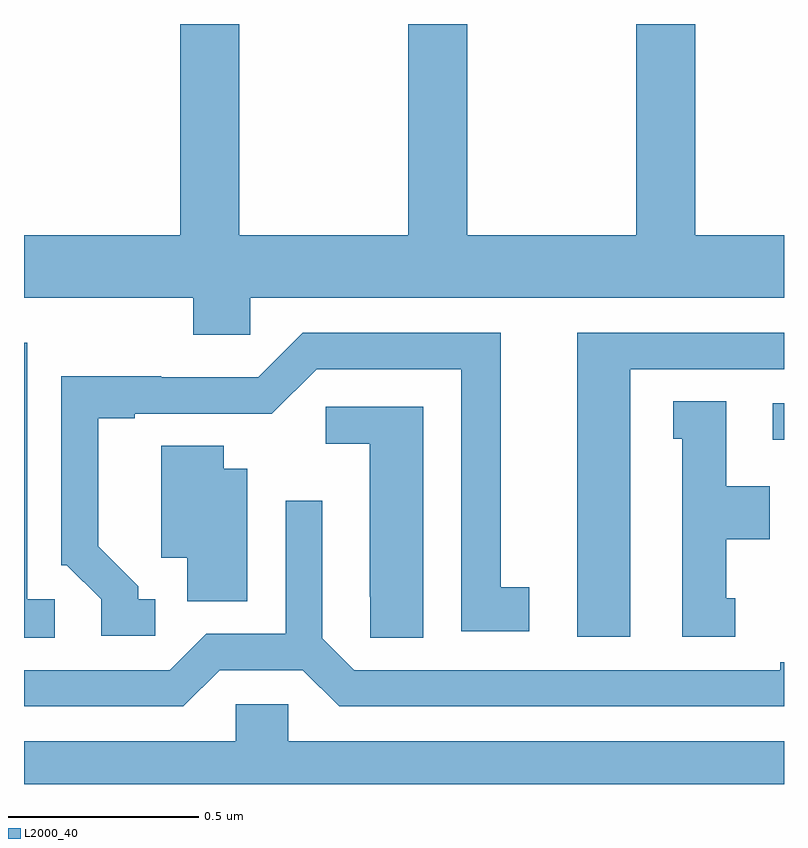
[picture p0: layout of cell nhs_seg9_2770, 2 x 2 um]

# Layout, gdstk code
import gdstk
lib = gdstk.Library(unit=1e-6, precision=1e-09)
def R(c, l, rs):  # rectangles x0, y0, x1, y1
    for r in rs: c.add(gdstk.rectangle(r[:2], r[2:], *l))
def P(c, l, *ps):  # polygons
    for p in ps: c.add(gdstk.Polygon(p, *l))
L2000_40 = (2000, 40)

nhs_seg9_2770 = lib.new_cell('nhs_seg9_2770')
R(nhs_seg9_2770, L2000_40, [(146.97,1169.406,147,1169.502)])
P(nhs_seg9_2770, L2000_40, [(145.596,1169.78),(147,1169.78),(147,1169.944),(146.766,1169.944),(146.766,1170.5),(146.611,1170.5),(146.611,1169.944),(146.166,1169.944),(146.166,1170.5),(146.011,1170.5),(146.011,1169.944),(145.566,1169.944),(145.566,1170.5),(145.411,1170.5),(145.411,1169.944),(145,1169.944),(145,1169.78),(145.445,1169.78),(145.445,1169.682),(145.596,1169.682)],
  [(146.596,1169.592),(147,1169.592),(147,1169.688),(146.456,1169.688),(146.456,1168.887),(146.596,1168.887)],
  [(145.345,1168.986),(145.3,1168.986),(145.3,1169.021),(145.195,1169.126),(145.195,1169.463),(145.291,1169.463),(145.291,1169.475),(145.556,1169.475),(145.556,1169.474),(145.652,1169.474),(145.77,1169.592),(146.15,1169.592),(146.15,1168.902),(146.329,1168.902),(146.329,1169.018),(146.254,1169.018),(146.254,1169.688),(145.734,1169.688),(145.617,1169.571),(145.361,1169.571),(145.361,1169.573),(145.098,1169.573),(145.098,1169.076),(145.113,1169.076),(145.203,1168.986),(145.203,1168.89),(145.345,1168.89)],
  [(145.081,1168.986),(145.008,1168.986),(145.008,1169.661),(145,1169.661),(145,1168.885),(145.081,1168.885)],
  [(146.872,1168.989),(146.848,1168.989),(146.848,1169.144),(146.962,1169.144),(146.962,1169.284),(146.848,1169.284),(146.848,1169.507),(146.708,1169.507),(146.708,1169.409),(146.732,1169.409),(146.732,1168.887),(146.872,1168.887)],
  [(146.05,1169.493),(145.794,1169.493),(145.794,1169.396),(145.91,1169.396),(145.91,1168.993),(145.911,1168.993),(145.911,1168.885),(146.05,1168.885)],
  [(145.588,1169.329),(145.525,1169.329),(145.525,1169.39),(145.361,1169.39),(145.361,1169.096),(145.43,1169.096),(145.43,1168.981),(145.588,1168.981)],
  [(145.515,1168.8),(145.733,1168.8),(145.829,1168.704),(147,1168.704),(147,1168.82),(146.99,1168.82),(146.99,1168.8),(145.869,1168.8),(145.785,1168.884),(145.785,1169.245),(145.689,1169.245),(145.689,1168.896),(145.479,1168.896),(145.383,1168.8),(145,1168.8),(145,1168.704),(145.419,1168.704)],
  [(147,1168.612),(145.695,1168.612),(145.695,1168.71),(145.557,1168.71),(145.557,1168.612),(145,1168.612),(145,1168.5),(147,1168.5)])

lib.write_gds('nhs_seg9_2770.gds')
